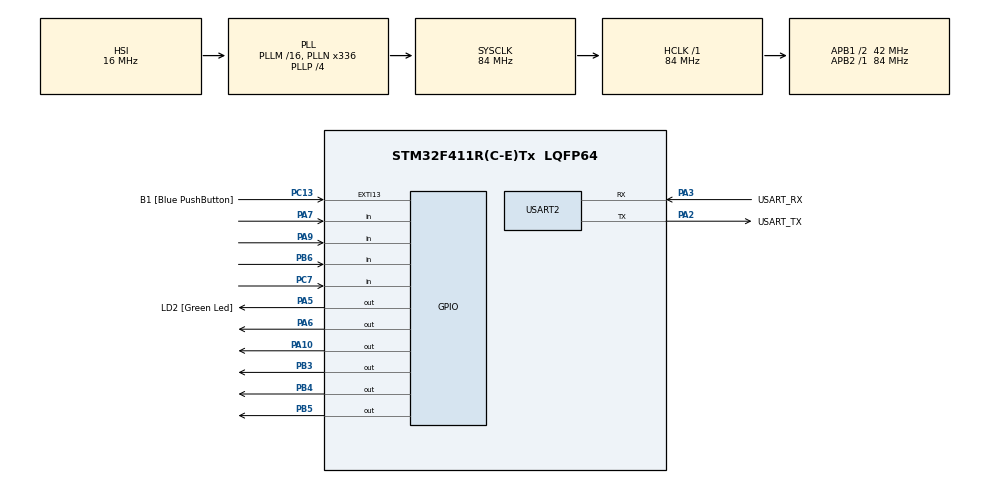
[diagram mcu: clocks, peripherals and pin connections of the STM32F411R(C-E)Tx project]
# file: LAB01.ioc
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Mcu.Family=STM32F4
Mcu.Name=STM32F411R(C-E)Tx
Mcu.Package=LQFP64
NVIC.PriorityGroup=NVIC_PRIORITYGROUP_0
PA10.GPIO_ModeDefaultOutputPP=GPIO_MODE_OUTPUT_OD
PA10.GPIO_PuPd=GPIO_NOPULL
PA10.PinState=GPIO_PIN_SET
PA10.Signal=GPIO_Output
PA13.GPIO_Label=TMS
PA13.Mode=Serial_Wire
PA13.Signal=SYS_JTMS-SWDIO
PA14.GPIO_Label=TCK
PA14.Mode=Serial_Wire
PA14.Signal=SYS_JTCK-SWCLK
PA2.GPIO_Label=USART_TX
PA2.Mode=Asynchronous
PA2.Signal=USART2_TX
PA3.GPIO_Label=USART_RX
PA3.Mode=Asynchronous
PA3.Signal=USART2_RX
PA5.GPIO_Label=LD2 [Green Led]
PA5.Signal=GPIO_Output
PA6.Signal=GPIO_Output
PA7.GPIO_PuPd=GPIO_PULLUP
PA7.Signal=GPIO_Input
PA9.GPIO_PuPd=GPIO_PULLUP
PA9.Signal=GPIO_Input
PB3.GPIO_ModeDefaultOutputPP=GPIO_MODE_OUTPUT_OD
PB3.GPIO_PuPd=GPIO_NOPULL
PB3.PinState=GPIO_PIN_SET
PB3.Signal=GPIO_Output
PB4.GPIO_ModeDefaultOutputPP=GPIO_MODE_OUTPUT_OD
PB4.GPIO_PuPd=GPIO_NOPULL
PB4.PinState=GPIO_PIN_SET
PB4.Signal=GPIO_Output
PB5.GPIO_ModeDefaultOutputPP=GPIO_MODE_OUTPUT_OD
PB5.GPIO_PuPd=GPIO_NOPULL
PB5.PinState=GPIO_PIN_SET
PB5.Signal=GPIO_Output
PB6.GPIO_PuPd=GPIO_PULLUP
PB6.Signal=GPIO_Input
PC13-ANTI_TAMP.GPIO_Label=B1 [Blue PushButton]
PC13-ANTI_TAMP.GPIO_ModeDefaultEXTI=GPIO_MODE_IT_FALLING
PC13-ANTI_TAMP.Signal=GPXTI13
PC14-OSC32_IN.Mode=LSE-External-Oscillator
PC14-OSC32_IN.Signal=RCC_OSC32_IN
PC15-OSC32_OUT.Mode=LSE-External-Oscillator
PC15-OSC32_OUT.Signal=RCC_OSC32_OUT
PC7.GPIO_PuPd=GPIO_PULLUP
PC7.Signal=GPIO_Input
PH0\ -\ OSC_IN.Mode=HSE-External-Clock-Source
PH0\ -\ OSC_IN.Signal=RCC_OSC_IN
PH1\ -\ OSC_OUT.Mode=HSE-External-Clock-Source
PH1\ -\ OSC_OUT.Signal=RCC_OSC_OUT
ProjectManager.HeapSize=0x200
ProjectManager.StackSize=0x400
ProjectManager.TargetToolchain=STM32CubeIDE
RCC.48MHZClocksFreq_Value=84000000
RCC.AHBFreq_Value=84000000
RCC.APB1CLKDivider=RCC_HCLK_DIV2
RCC.APB1Freq_Value=42000000
RCC.APB1TimFreq_Value=84000000
RCC.APB2Freq_Value=84000000
RCC.APB2TimFreq_Value=84000000
RCC.CortexFreq_Value=84000000
RCC.FLatency-AdvancedSettings=FLASH_LATENCY_2
RCC.HCLKFreq_Value=84000000
RCC.HSE_VALUE=8000000
RCC.HSI_VALUE=16000000
RCC.PLLN=336
RCC.PLLP=RCC_PLLP_DIV4
RCC.SYSCLKFreq_VALUE=84000000
RCC.SYSCLKSource=RCC_SYSCLKSOURCE_PLLCLK
RCC.VCOOutputFreq_Value=336000000
USART2.VirtualMode=VM_ASYNC
board=NUCLEO-F411RE

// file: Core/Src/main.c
/* USER CODE BEGIN Header */
/**
  ******************************************************************************
  * @file           : main.c
  * @brief          : Main program body
  ******************************************************************************
  * @attention
  *
  * Copyright (c) 2023 STMicroelectronics.
  * All rights reserved.
  *
  * This software is licensed under terms that can be found in the LICENSE file
  * in the root directory of this software component.
  * If no LICENSE file comes with this software, it is provided AS-IS.
  *
  ******************************************************************************
  */
/* USER CODE END Header */
#include "main.h"

UART_HandleTypeDef huart2;

/* USER CODE BEGIN PV */
typedef struct _PortPin
{
	GPIO_TypeDef* PORT;
	uint16_t PIN;
} PortPin;

PortPin R[4] =
{
		{GPIOA,GPIO_PIN_10},
		{GPIOB,GPIO_PIN_3},
		{GPIOB,GPIO_PIN_5},
		{GPIOB,GPIO_PIN_4}
};

PortPin L[4] =
{
		{GPIOA,GPIO_PIN_9},
		{GPIOC,GPIO_PIN_7},
		{GPIOB,GPIO_PIN_6},
		{GPIOA,GPIO_PIN_7}
};

uint16_t ButtonMatrix = 0;
int ButtonMatrix_L = 0;
int ButtonMatrix_F = 0;
int Keypad = 0;
/* USER CODE END PV */

void SystemClock_Config(void);
static void MX_GPIO_Init(void);
static void MX_USART2_UART_Init(void);
/* USER CODE BEGIN PFP */
void ReadMatrixButton();
/* USER CODE END PFP */

int main(void)
{

  /* MCU Configuration--------------------------------------------------------*/

  /* Reset of all peripherals, Initializes the Flash interface and the Systick. */
  HAL_Init();

  /* Configure the system clock */
  SystemClock_Config();

  /* Initialize all configured peripherals */
  MX_GPIO_Init();
  MX_USART2_UART_Init();

  /* Infinite loop */
  while (1)
  {

    /* USER CODE BEGIN 3 */
	  // call function every 100Hz
	  static uint32_t timestamp = 0;
	  if(HAL_GetTick()>=timestamp)
	  {
		  timestamp = HAL_GetTick() + 10; //ms
		  ReadMatrixButton();
	  }

	  if(ButtonMatrix_L == 0 && ButtonMatrix != 0)
	  {
		  ButtonMatrix_F = 1;
	  }
	  else
	  {
		  ButtonMatrix_F = 0;
	  }
	  ButtonMatrix_L = ButtonMatrix;

	  switch (Keypad)
	  {
		case 0:
			HAL_GPIO_WritePin(GPIOA, GPIO_PIN_6, 1);
			if (ButtonMatrix == 512 && ButtonMatrix_F == 1) {
				Keypad = 1;
			}
			else if (ButtonMatrix == 4096 && ButtonMatrix_F == 1){
				Keypad = 0;
			}
			else if (ButtonMatrix != 512 && ButtonMatrix_F == 1) {
				Keypad = 13;
			}
			break;
		case 1:
			if (ButtonMatrix == 2 && ButtonMatrix_F == 1) {
				Keypad = 2;
			}
			else if (ButtonMatrix == 4096 && ButtonMatrix_F == 1) {
				Keypad = 0;
			}
			else if (ButtonMatrix != 2 && ButtonMatrix_F == 1) {
				Keypad = 13;
			}
			break;
		case 2:
			if (ButtonMatrix == 256 && ButtonMatrix_F == 1) {
				Keypad = 3;
			}
			else if (ButtonMatrix == 4096 && ButtonMatrix_F == 1) {
				Keypad = 0;
			}
			else if (ButtonMatrix != 256 && ButtonMatrix_F == 1) {
				Keypad = 13;
			}
			break;
		case 3:
			if (ButtonMatrix == 2 && ButtonMatrix_F == 1) {
				Keypad = 4;
			}
			else if (ButtonMatrix == 4096 && ButtonMatrix_F == 1) {
				Keypad = 0;
			}
			else if (ButtonMatrix != 2 && ButtonMatrix_F == 1) {
				Keypad = 13;
			}
			break;
		case 4:
			if (ButtonMatrix == 8 && ButtonMatrix_F == 1) {
				Keypad = 5;
			}
			else if (ButtonMatrix == 4096 && ButtonMatrix_F == 1) {
				Keypad = 0;
			}
			else if (ButtonMatrix != 8 && ButtonMatrix_F == 1) {
				Keypad = 13;
			}
			break;
		case 5:
			if (ButtonMatrix == 32 && ButtonMatrix_F == 1) {
				Keypad = 6;
			}
			else if (ButtonMatrix == 4096 && ButtonMatrix_F == 1) {
				Keypad = 0;
			}
			else if (ButtonMatrix != 32 && ButtonMatrix_F == 1) {
				Keypad = 13;
			}
			break;
		case 6:
			if (ButtonMatrix == 8 && ButtonMatrix_F == 1) {
				Keypad = 7;
			}
			else if (ButtonMatrix == 4096 && ButtonMatrix_F == 1) {
				Keypad = 0;
			}
			else if (ButtonMatrix != 8 && ButtonMatrix_F == 1) {
				Keypad = 13;
			}
			break;
		case 7:
			if (ButtonMatrix == 8 && ButtonMatrix_F == 1) {
				Keypad = 8;
			}
			else if (ButtonMatrix == 4096 && ButtonMatrix_F == 1) {
				Keypad = 0;
			}
			else if (ButtonMatrix != 8 && ButtonMatrix_F == 1) {
				Keypad = 13;
			}
			break;
		case 8:
			if (ButtonMatrix == 8 && ButtonMatrix_F == 1) {
				Keypad = 9;
			}
			else if (ButtonMatrix == 4096 && ButtonMatrix_F == 1) {
				Keypad = 0;
			}
			else if (ButtonMatrix != 8 && ButtonMatrix_F == 1) {
				Keypad = 13;
			}
			break;
		case 9:
			if (ButtonMatrix == 4 && ButtonMatrix_F == 1) {
				Keypad = 10;
			}
			else if (ButtonMatrix == 4096 && ButtonMatrix_F == 1) {
				Keypad = 0;
			}
			else if (ButtonMatrix != 4 && ButtonMatrix_F == 1) {
				Keypad = 13;
			}
			break;
		case 10:
			if (ButtonMatrix == 1 && ButtonMatrix_F == 1) {
				Keypad = 11;
			}
			else if (ButtonMatrix == 4096 && ButtonMatrix_F == 1) {
				Keypad = 0;
			}
			else if (ButtonMatrix != 1 && ButtonMatrix_F == 1) {
				Keypad = 13;
			}
			break;
		case 11:
			if (ButtonMatrix == 32768 && ButtonMatrix_F == 1) {
				Keypad = 12;
			}
			else if (ButtonMatrix == 4096 && ButtonMatrix_F == 1) {
				Keypad = 0;
			}
			else if (ButtonMatrix != 32768 && ButtonMatrix_F == 1) {
				Keypad = 13;
			}
			break;
		case 12:
			HAL_GPIO_WritePin(GPIOA, GPIO_PIN_6, 0);
			if (ButtonMatrix == 4096 && ButtonMatrix_F == 1){
				Keypad = 0;
			}
			else if (ButtonMatrix != 4096 && ButtonMatrix_F == 1) {
				Keypad = 13;
			}
	  	  	break;
	  	case 13:
	  		HAL_GPIO_WritePin(GPIOA, GPIO_PIN_6, 1);
	  		if (ButtonMatrix == 4096 && ButtonMatrix_F == 1){
	  			Keypad = 0;
	  		}
	  		else if (ButtonMatrix != 4096 && ButtonMatrix_F == 1) {
	  			Keypad = 13;
	  		}
	  		break;

		}
	}
  /* USER CODE END 3 */
}

void SystemClock_Config(void)
{
  RCC_OscInitTypeDef RCC_OscInitStruct = {0};
  RCC_ClkInitTypeDef RCC_ClkInitStruct = {0};

  /** Configure the main internal regulator output voltage
  */
  __HAL_RCC_PWR_CLK_ENABLE();
  __HAL_PWR_VOLTAGESCALING_CONFIG(PWR_REGULATOR_VOLTAGE_SCALE1);

  /** Initializes the RCC Oscillators according to the specified parameters
  * in the RCC_OscInitTypeDef structure.
  */
  RCC_OscInitStruct.OscillatorType = RCC_OSCILLATORTYPE_HSI;
  RCC_OscInitStruct.HSIState = RCC_HSI_ON;
  RCC_OscInitStruct.HSICalibrationValue = RCC_HSICALIBRATION_DEFAULT;
  RCC_OscInitStruct.PLL.PLLState = RCC_PLL_ON;
  RCC_OscInitStruct.PLL.PLLSource = RCC_PLLSOURCE_HSI;
  RCC_OscInitStruct.PLL.PLLM = 16;
  RCC_OscInitStruct.PLL.PLLN = 336;
  RCC_OscInitStruct.PLL.PLLP = RCC_PLLP_DIV4;
  RCC_OscInitStruct.PLL.PLLQ = 4;
  if (HAL_RCC_OscConfig(&RCC_OscInitStruct) != HAL_OK)
  {
    Error_Handler();
  }

  /** Initializes the CPU, AHB and APB buses clocks
  */
  RCC_ClkInitStruct.ClockType = RCC_CLOCKTYPE_HCLK|RCC_CLOCKTYPE_SYSCLK
                              |RCC_CLOCKTYPE_PCLK1|RCC_CLOCKTYPE_PCLK2;
  RCC_ClkInitStruct.SYSCLKSource = RCC_SYSCLKSOURCE_PLLCLK;
  RCC_ClkInitStruct.AHBCLKDivider = RCC_SYSCLK_DIV1;
  RCC_ClkInitStruct.APB1CLKDivider = RCC_HCLK_DIV2;
  RCC_ClkInitStruct.APB2CLKDivider = RCC_HCLK_DIV1;

  if (HAL_RCC_ClockConfig(&RCC_ClkInitStruct, FLASH_LATENCY_2) != HAL_OK)
  {
    Error_Handler();
  }
}

static void MX_USART2_UART_Init(void)
{

  huart2.Instance = USART2;
  huart2.Init.BaudRate = 115200;
  huart2.Init.WordLength = UART_WORDLENGTH_8B;
  huart2.Init.StopBits = UART_STOPBITS_1;
  huart2.Init.Parity = UART_PARITY_NONE;
  huart2.Init.Mode = UART_MODE_TX_RX;
  huart2.Init.HwFlowCtl = UART_HWCONTROL_NONE;
  huart2.Init.OverSampling = UART_OVERSAMPLING_16;
  if (HAL_UART_Init(&huart2) != HAL_OK)
  {
    Error_Handler();
  }

}

static void MX_GPIO_Init(void)
{
  GPIO_InitTypeDef GPIO_InitStruct = {0};

  /* GPIO Ports Clock Enable */
  __HAL_RCC_GPIOC_CLK_ENABLE();
  __HAL_RCC_GPIOH_CLK_ENABLE();
  __HAL_RCC_GPIOA_CLK_ENABLE();
  __HAL_RCC_GPIOB_CLK_ENABLE();

  /*Configure GPIO pin Output Level */
  HAL_GPIO_WritePin(GPIOA, LD2_Pin|GPIO_PIN_6, GPIO_PIN_RESET);

  /*Configure GPIO pin Output Level */
  HAL_GPIO_WritePin(GPIOA, GPIO_PIN_10, GPIO_PIN_SET);

  /*Configure GPIO pin Output Level */
  HAL_GPIO_WritePin(GPIOB, GPIO_PIN_3|GPIO_PIN_4|GPIO_PIN_5, GPIO_PIN_SET);

  /*Configure GPIO pin : B1_Pin */
  GPIO_InitStruct.Pin = B1_Pin;
  GPIO_InitStruct.Mode = GPIO_MODE_IT_FALLING;
  GPIO_InitStruct.Pull = GPIO_NOPULL;
  HAL_GPIO_Init(B1_GPIO_Port, &GPIO_InitStruct);

  /*Configure GPIO pins : LD2_Pin PA6 */
  GPIO_InitStruct.Pin = LD2_Pin|GPIO_PIN_6;
  GPIO_InitStruct.Mode = GPIO_MODE_OUTPUT_PP;
  GPIO_InitStruct.Pull = GPIO_NOPULL;
  GPIO_InitStruct.Speed = GPIO_SPEED_FREQ_LOW;
  HAL_GPIO_Init(GPIOA, &GPIO_InitStruct);

  /*Configure GPIO pins : PA7 PA9 */
  GPIO_InitStruct.Pin = GPIO_PIN_7|GPIO_PIN_9;
  GPIO_InitStruct.Mode = GPIO_MODE_INPUT;
  GPIO_InitStruct.Pull = GPIO_PULLUP;
  HAL_GPIO_Init(GPIOA, &GPIO_InitStruct);

  /*Configure GPIO pin : PC7 */
  GPIO_InitStruct.Pin = GPIO_PIN_7;
  GPIO_InitStruct.Mode = GPIO_MODE_INPUT;
  GPIO_InitStruct.Pull = GPIO_PULLUP;
  HAL_GPIO_Init(GPIOC, &GPIO_InitStruct);

  /*Configure GPIO pin : PA10 */
  GPIO_InitStruct.Pin = GPIO_PIN_10;
  GPIO_InitStruct.Mode = GPIO_MODE_OUTPUT_OD;
  GPIO_InitStruct.Pull = GPIO_NOPULL;
  GPIO_InitStruct.Speed = GPIO_SPEED_FREQ_LOW;
  HAL_GPIO_Init(GPIOA, &GPIO_InitStruct);

  /*Configure GPIO pins : PB3 PB4 PB5 */
  GPIO_InitStruct.Pin = GPIO_PIN_3|GPIO_PIN_4|GPIO_PIN_5;
  GPIO_InitStruct.Mode = GPIO_MODE_OUTPUT_OD;
  GPIO_InitStruct.Pull = GPIO_NOPULL;
  GPIO_InitStruct.Speed = GPIO_SPEED_FREQ_LOW;
  HAL_GPIO_Init(GPIOB, &GPIO_InitStruct);

  /*Configure GPIO pin : PB6 */
  GPIO_InitStruct.Pin = GPIO_PIN_6;
  GPIO_InitStruct.Mode = GPIO_MODE_INPUT;
  GPIO_InitStruct.Pull = GPIO_PULLUP;
  HAL_GPIO_Init(GPIOB, &GPIO_InitStruct);

}

/* USER CODE BEGIN 4 */
void ReadMatrixButton()
{
	//declare x
	static uint8_t x = 0;

	//Read L1-L4
	register int i;
	for(i=0;i<4;i++)
	{
		if(HAL_GPIO_ReadPin(L[i].PORT,L[i].PIN)==1)
		{
			ButtonMatrix &= ~(1<<(x*4+i));
		}
		else
		{
			ButtonMatrix |= 1<<(x*4+i);
		}
	}
	//SET RX
	HAL_GPIO_WritePin(R[x].PORT,R[x].PIN,1);
	//RESET RX+1%4
	HAL_GPIO_WritePin(R[(x+1)%4].PORT, R[(x+1)%4].PIN, 0);
	x++;
	x%=4;
}
/* USER CODE END 4 */

void Error_Handler(void)
{
  __disable_irq();
  while (1)
  {
  }
}
